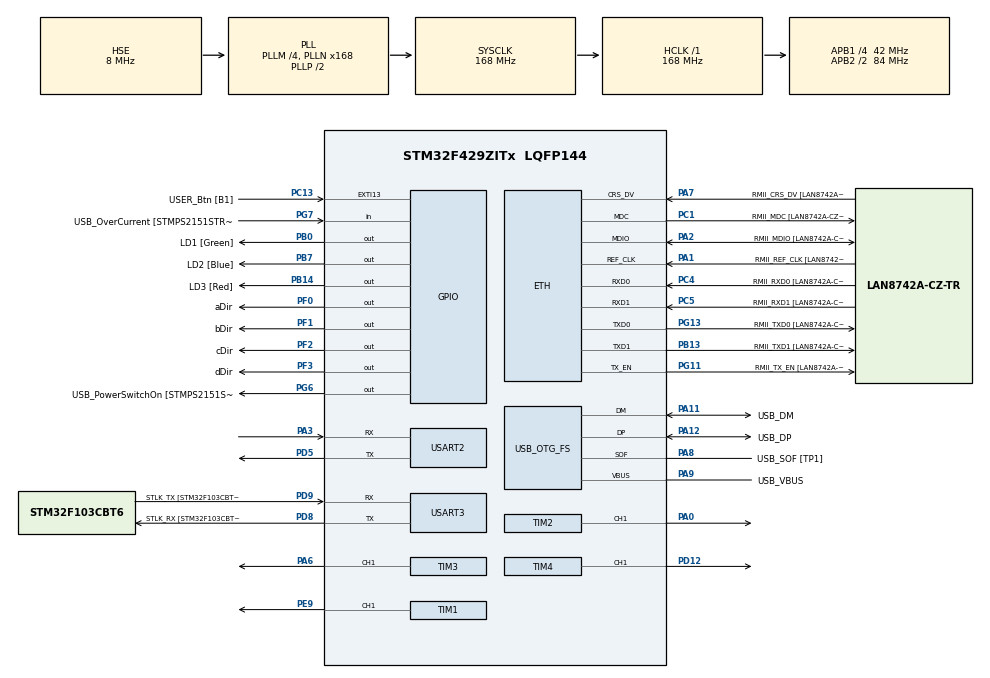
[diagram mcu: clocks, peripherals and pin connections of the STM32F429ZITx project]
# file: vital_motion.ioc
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ETH.MediaInterface=HAL_ETH_RMII_MODE
ETH.PHY_Name=LAN8742A_PHY_ADDRESS
ETH.PHY_Value=0
ETH.PhyAddress=0
FREERTOS.Tasks01=defaultTask,24,256,StartDefaultTask,Default,NULL,Dynamic,NULL,NULL;move,8,256,moveFunc,Default,NULL,Dynamic,NULL,NULL
FREERTOS.configUSE_NEWLIB_REENTRANT=1
Mcu.Family=STM32F4
Mcu.Name=STM32F429ZITx
Mcu.Package=LQFP144
NVIC.PriorityGroup=NVIC_PRIORITYGROUP_4
NVIC.TIM1_BRK_TIM9_IRQn=true\:5\:0\:false\:false\:true\:true\:true\:true\:true
NVIC.TIM1_CC_IRQn=true\:5\:0\:false\:false\:true\:true\:true\:true\:true
NVIC.TIM1_TRG_COM_TIM11_IRQn=true\:5\:0\:false\:false\:true\:true\:true\:true\:true
NVIC.TIM1_UP_TIM10_IRQn=true\:5\:0\:false\:false\:true\:true\:true\:true\:true
NVIC.TIM2_IRQn=true\:5\:0\:false\:false\:true\:true\:true\:true\:true
NVIC.TIM3_IRQn=true\:5\:0\:false\:false\:true\:true\:true\:true\:true
NVIC.TIM4_IRQn=true\:5\:0\:false\:false\:true\:true\:true\:true\:true
NVIC.TIM7_IRQn=true\:15\:0\:false\:false\:true\:false\:false\:true\:true
NVIC.TimeBase=TIM7_IRQn
NVIC.TimeBaseIP=TIM7
PA0/WKUP.Signal=S_TIM2_CH1_ETR
PA1.GPIO_Label=RMII_REF_CLK [LAN8742A-CZ-TR_REFCLK0]
PA1.Mode=RMII
PA1.Signal=ETH_REF_CLK
PA10.GPIO_Label=USB_ID
PA10.Signal=USB_OTG_FS_ID
PA11.GPIO_Label=USB_DM
PA11.Mode=Device_Only
PA11.Signal=USB_OTG_FS_DM
PA12.GPIO_Label=USB_DP
PA12.Mode=Device_Only
PA12.Signal=USB_OTG_FS_DP
PA13.GPIO_Label=TMS
PA13.Mode=Serial_Wire
PA13.Signal=SYS_JTMS-SWDIO
PA14.GPIO_Label=TCK
PA14.Mode=Serial_Wire
PA14.Signal=SYS_JTCK-SWCLK
PA2.GPIO_Label=RMII_MDIO [LAN8742A-CZ-TR_MDIO]
PA2.Mode=RMII
PA2.Signal=ETH_MDIO
PA3.Mode=Asynchronous
PA3.Signal=USART2_RX
PA6.Signal=S_TIM3_CH1
PA7.GPIO_Label=RMII_CRS_DV [LAN8742A-CZ-TR_CRS_DV]
PA7.Mode=RMII
PA7.Signal=ETH_CRS_DV
PA8.GPIO_Label=USB_SOF [TP1]
PA8.Mode=Activate_SOF_FS
PA8.Signal=USB_OTG_FS_SOF
PA9.GPIO_Label=USB_VBUS
PA9.Mode=Activate_VBUS
PA9.Signal=USB_OTG_FS_VBUS
PB0.GPIO_Label=LD1 [Green]
PB0.Signal=GPIO_Output
PB13.GPIO_Label=RMII_TXD1 [LAN8742A-CZ-TR_TXD1]
PB13.Mode=RMII
PB13.Signal=ETH_TXD1
PB14.GPIO_Label=LD3 [Red]
PB14.Signal=GPIO_Output
PB7.GPIO_Label=LD2 [Blue]
PB7.Signal=GPIO_Output
PC1.GPIO_Label=RMII_MDC [LAN8742A-CZ-TR_MDC]
PC1.Mode=RMII
PC1.Signal=ETH_MDC
PC13.GPIO_Label=USER_Btn [B1]
PC13.Signal=GPXTI13
PC14/OSC32_IN.Mode=LSE-External-Oscillator
PC14/OSC32_IN.Signal=RCC_OSC32_IN
PC15/OSC32_OUT.Mode=LSE-External-Oscillator
PC15/OSC32_OUT.Signal=RCC_OSC32_OUT
PC4.GPIO_Label=RMII_RXD0 [LAN8742A-CZ-TR_RXD0]
PC4.Mode=RMII
PC4.Signal=ETH_RXD0
PC5.GPIO_Label=RMII_RXD1 [LAN8742A-CZ-TR_RXD1]
PC5.Mode=RMII
PC5.Signal=ETH_RXD1
PD12.Signal=S_TIM4_CH1
PD5.Mode=Asynchronous
PD5.Signal=USART2_TX
PD8.GPIO_Label=STLK_RX [STM32F103CBT6_PA3]
PD8.Mode=Asynchronous
PD8.Signal=USART3_TX
PD9.GPIO_Label=STLK_TX [STM32F103CBT6_PA2]
PD9.Mode=Asynchronous
PD9.Signal=USART3_RX
PE9.Signal=S_TIM1_CH1
PF0.GPIO_Label=aDir
PF0.Signal=GPIO_Output
PF1.GPIO_Label=bDir
PF1.Signal=GPIO_Output
PF2.GPIO_Label=cDir
PF2.Signal=GPIO_Output
PF3.GPIO_Label=dDir
PF3.Signal=GPIO_Output
PG11.GPIO_Label=RMII_TX_EN [LAN8742A-CZ-TR_TXEN]
PG11.Mode=RMII
PG11.Signal=ETH_TX_EN
PG13.GPIO_Label=RMII_TXD0 [LAN8742A-CZ-TR_TXD0]
PG13.Mode=RMII
PG13.Signal=ETH_TXD0
PG6.GPIO_Label=USB_PowerSwitchOn [STMPS2151STR_EN]
PG6.Signal=GPIO_Output
PG7.GPIO_Label=USB_OverCurrent [STMPS2151STR_FAULT]
PG7.Signal=GPIO_Input
PH0/OSC_IN.GPIO_Label=MCO [STM32F103CBT6_PA8]
PH0/OSC_IN.Mode=HSE-External-Clock-Source
PH0/OSC_IN.Signal=RCC_OSC_IN
PH1/OSC_OUT.Mode=HSE-External-Clock-Source
PH1/OSC_OUT.Signal=RCC_OSC_OUT
ProjectManager.HeapSize=0x200
ProjectManager.StackSize=0x400
ProjectManager.TargetToolchain=STM32CubeIDE
RCC.48MHZClocksFreq_Value=48000000
RCC.AHBFreq_Value=168000000
RCC.APB1CLKDivider=RCC_HCLK_DIV4
RCC.APB1Freq_Value=42000000
RCC.APB1TimFreq_Value=84000000
RCC.APB2CLKDivider=RCC_HCLK_DIV2
RCC.APB2Freq_Value=84000000
RCC.APB2TimFreq_Value=168000000
RCC.CortexFreq_Value=168000000
RCC.HCLKFreq_Value=168000000
RCC.HSE_VALUE=8000000
RCC.HSI_VALUE=16000000
RCC.PLLM=4
RCC.PLLMUL=RCC_PLL_MUL9
RCC.PLLN=168
RCC.PLLQ=7
RCC.PRESCALERUSB=RCC_USBCLKSOURCE_PLL_DIV1_5
RCC.SYSCLKFreq_VALUE=168000000
RCC.SYSCLKSource=RCC_SYSCLKSOURCE_PLLCLK
RCC.SYSCLKSourceVirtual=RCC_SYSCLKSOURCE_PLLCLK
RCC.USBFreq_Value=48000000
RCC.VCOOutputFreq_Value=336000000
SH.S_TIM1_CH1.0=TIM1_CH1,PWM Generation1 CH1
SH.S_TIM2_CH1_ETR.0=TIM2_CH1,PWM Generation1 CH1
SH.S_TIM3_CH1.0=TIM3_CH1,PWM Generation1 CH1
SH.S_TIM4_CH1.0=TIM4_CH1,PWM Generation1 CH1
TIM1.Channel-PWM\ Generation1\ CH1=TIM_CHANNEL_1
TIM1.Period=10000
TIM1.Prescaler=167
TIM2.Channel-PWM\ Generation1\ CH1=TIM_CHANNEL_1
TIM2.Period=10000
TIM2.Prescaler=83
TIM3.Channel-PWM\ Generation1\ CH1=TIM_CHANNEL_1
TIM3.Period=10000
TIM3.Prescaler=83
TIM4.Channel-PWM\ Generation1\ CH1=TIM_CHANNEL_1
TIM4.Period=10000
TIM4.Prescaler=83
USART2.VirtualMode=VM_ASYNC
USART3.VirtualMode=VM_ASYNC
USB_OTG_FS.VirtualMode=Device_Only
VP_FREERTOS_VS_CMSIS_V2.Mode=CMSIS_V2
VP_SYS_VS_tim7.Mode=TIM7
board=NUCLEO-F429ZI

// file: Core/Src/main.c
/* USER CODE BEGIN Header */
/**
  ******************************************************************************
  * @file           : main.c
  * @brief          : Main program body
  ******************************************************************************
  * @attention
  *
  * Copyright (c) 2026 STMicroelectronics.
  * All rights reserved.
  *
  * This software is licensed under terms that can be found in the LICENSE file
  * in the root directory of this software component.
  * If no LICENSE file comes with this software, it is provided AS-IS.
  *
  ******************************************************************************
  */
/* USER CODE END Header */
#include "main.h"
#include "string.h"
#include "cmsis_os.h"

/* USER CODE BEGIN Includes */
#include <stdio.h>
#include "comm_uart.h"
#include "motor.h"
/* USER CODE END Includes */

ETH_TxPacketConfig TxConfig;
ETH_DMADescTypeDef  DMARxDscrTab[ETH_RX_DESC_CNT]; /* Ethernet Rx DMA Descriptors */
ETH_DMADescTypeDef  DMATxDscrTab[ETH_TX_DESC_CNT]; /* Ethernet Tx DMA Descriptors */

ETH_HandleTypeDef heth;

TIM_HandleTypeDef htim1;
TIM_HandleTypeDef htim2;
TIM_HandleTypeDef htim3;
TIM_HandleTypeDef htim4;

UART_HandleTypeDef huart2;
UART_HandleTypeDef huart3;

PCD_HandleTypeDef hpcd_USB_OTG_FS;

/* Definitions for defaultTask */
osThreadId_t defaultTaskHandle;
const osThreadAttr_t defaultTask_attributes = {
  .name = "defaultTask",
  .stack_size = 256 * 4,
  .priority = (osPriority_t) osPriorityNormal,
};
/* Definitions for move */
osThreadId_t moveHandle;
const osThreadAttr_t move_attributes = {
  .name = "move",
  .stack_size = 512 * 4,
  .priority = (osPriority_t) osPriorityNormal,
};

void SystemClock_Config(void);
static void MX_GPIO_Init(void);
static void MX_ETH_Init(void);
static void MX_USART3_UART_Init(void);
static void MX_USB_OTG_FS_PCD_Init(void);
static void MX_USART2_UART_Init(void);
static void MX_TIM1_Init(void);
static void MX_TIM2_Init(void);
static void MX_TIM3_Init(void);
static void MX_TIM4_Init(void);
void StartDefaultTask(void *argument);
void moveFunc(void *argument);

/* USER CODE BEGIN 0 */

/** printf → USART3 (ST-Link VCP), см. BRINGUP.md */
int __io_putchar(int ch)
{
  uint8_t c = (uint8_t)ch;
  HAL_UART_Transmit(&huart3, &c, 1, HAL_MAX_DELAY);
  return ch;
}

/* USER CODE END 0 */

int main(void)
{

  /* MCU Configuration--------------------------------------------------------*/

  /* Reset of all peripherals, Initializes the Flash interface and the Systick. */
  HAL_Init();

  /* Configure the system clock */
  SystemClock_Config();

  /* Initialize all configured peripherals */
  MX_GPIO_Init();
  MX_ETH_Init();
  MX_USART3_UART_Init();
  MX_USB_OTG_FS_PCD_Init();
  MX_USART2_UART_Init();
  MX_TIM1_Init();
  MX_TIM2_Init();
  MX_TIM3_Init();
  MX_TIM4_Init();
  /* USER CODE BEGIN 2 */
  motor_init();
  comm_uart_init();
  /* USER CODE END 2 */

  /* Init scheduler */
  osKernelInitialize();

  /* Create the thread(s) */
  /* creation of defaultTask */
  defaultTaskHandle = osThreadNew(StartDefaultTask, NULL, &defaultTask_attributes);

  /* creation of move */
  moveHandle = osThreadNew(moveFunc, NULL, &move_attributes);

  /* Start scheduler */
  osKernelStart();

  /* We should never get here as control is now taken by the scheduler */

  /* Infinite loop */
  while (1)
  {

  }
}

void SystemClock_Config(void)
{
  RCC_OscInitTypeDef RCC_OscInitStruct = {0};
  RCC_ClkInitTypeDef RCC_ClkInitStruct = {0};

  /** Configure the main internal regulator output voltage
  */
  __HAL_RCC_PWR_CLK_ENABLE();
  __HAL_PWR_VOLTAGESCALING_CONFIG(PWR_REGULATOR_VOLTAGE_SCALE1);

  /** Initializes the RCC Oscillators according to the specified parameters
  * in the RCC_OscInitTypeDef structure.
  */
  RCC_OscInitStruct.OscillatorType = RCC_OSCILLATORTYPE_HSE;
  RCC_OscInitStruct.HSEState = RCC_HSE_BYPASS;
  RCC_OscInitStruct.PLL.PLLState = RCC_PLL_ON;
  RCC_OscInitStruct.PLL.PLLSource = RCC_PLLSOURCE_HSE;
  RCC_OscInitStruct.PLL.PLLM = 4;
  RCC_OscInitStruct.PLL.PLLN = 168;
  RCC_OscInitStruct.PLL.PLLP = RCC_PLLP_DIV2;
  RCC_OscInitStruct.PLL.PLLQ = 7;
  if (HAL_RCC_OscConfig(&RCC_OscInitStruct) != HAL_OK)
  {
    Error_Handler();
  }

  /** Initializes the CPU, AHB and APB buses clocks
  */
  RCC_ClkInitStruct.ClockType = RCC_CLOCKTYPE_HCLK|RCC_CLOCKTYPE_SYSCLK
                              |RCC_CLOCKTYPE_PCLK1|RCC_CLOCKTYPE_PCLK2;
  RCC_ClkInitStruct.SYSCLKSource = RCC_SYSCLKSOURCE_PLLCLK;
  RCC_ClkInitStruct.AHBCLKDivider = RCC_SYSCLK_DIV1;
  RCC_ClkInitStruct.APB1CLKDivider = RCC_HCLK_DIV4;
  RCC_ClkInitStruct.APB2CLKDivider = RCC_HCLK_DIV2;

  if (HAL_RCC_ClockConfig(&RCC_ClkInitStruct, FLASH_LATENCY_5) != HAL_OK)
  {
    Error_Handler();
  }
}

static void MX_ETH_Init(void)
{

   static uint8_t MACAddr[6];

  heth.Instance = ETH;
  MACAddr[0] = 0x00;
  MACAddr[1] = 0x80;
  MACAddr[2] = 0xE1;
  MACAddr[3] = 0x00;
  MACAddr[4] = 0x00;
  MACAddr[5] = 0x00;
  heth.Init.MACAddr = &MACAddr[0];
  heth.Init.MediaInterface = HAL_ETH_RMII_MODE;
  heth.Init.TxDesc = DMATxDscrTab;
  heth.Init.RxDesc = DMARxDscrTab;
  heth.Init.RxBuffLen = 1524;

  if (HAL_ETH_Init(&heth) != HAL_OK)
  {
    Error_Handler();
  }

  memset(&TxConfig, 0 , sizeof(ETH_TxPacketConfig));
  TxConfig.Attributes = ETH_TX_PACKETS_FEATURES_CSUM | ETH_TX_PACKETS_FEATURES_CRCPAD;
  TxConfig.ChecksumCtrl = ETH_CHECKSUM_IPHDR_PAYLOAD_INSERT_PHDR_CALC;
  TxConfig.CRCPadCtrl = ETH_CRC_PAD_INSERT;

}

static void MX_TIM1_Init(void)
{

  TIM_MasterConfigTypeDef sMasterConfig = {0};
  TIM_OC_InitTypeDef sConfigOC = {0};
  TIM_BreakDeadTimeConfigTypeDef sBreakDeadTimeConfig = {0};

  htim1.Instance = TIM1;
  htim1.Init.Prescaler = 167;
  htim1.Init.CounterMode = TIM_COUNTERMODE_UP;
  htim1.Init.Period = 10000;
  htim1.Init.ClockDivision = TIM_CLOCKDIVISION_DIV1;
  htim1.Init.RepetitionCounter = 0;
  htim1.Init.AutoReloadPreload = TIM_AUTORELOAD_PRELOAD_DISABLE;
  if (HAL_TIM_PWM_Init(&htim1) != HAL_OK)
  {
    Error_Handler();
  }
  sMasterConfig.MasterOutputTrigger = TIM_TRGO_RESET;
  sMasterConfig.MasterSlaveMode = TIM_MASTERSLAVEMODE_DISABLE;
  if (HAL_TIMEx_MasterConfigSynchronization(&htim1, &sMasterConfig) != HAL_OK)
  {
    Error_Handler();
  }
  sConfigOC.OCMode = TIM_OCMODE_PWM1;
  sConfigOC.Pulse = 0;
  sConfigOC.OCPolarity = TIM_OCPOLARITY_HIGH;
  sConfigOC.OCNPolarity = TIM_OCNPOLARITY_HIGH;
  sConfigOC.OCFastMode = TIM_OCFAST_DISABLE;
  sConfigOC.OCIdleState = TIM_OCIDLESTATE_RESET;
  sConfigOC.OCNIdleState = TIM_OCNIDLESTATE_RESET;
  if (HAL_TIM_PWM_ConfigChannel(&htim1, &sConfigOC, TIM_CHANNEL_1) != HAL_OK)
  {
    Error_Handler();
  }
  sBreakDeadTimeConfig.OffStateRunMode = TIM_OSSR_DISABLE;
  sBreakDeadTimeConfig.OffStateIDLEMode = TIM_OSSI_DISABLE;
  sBreakDeadTimeConfig.LockLevel = TIM_LOCKLEVEL_OFF;
  sBreakDeadTimeConfig.DeadTime = 0;
  sBreakDeadTimeConfig.BreakState = TIM_BREAK_DISABLE;
  sBreakDeadTimeConfig.BreakPolarity = TIM_BREAKPOLARITY_HIGH;
  sBreakDeadTimeConfig.AutomaticOutput = TIM_AUTOMATICOUTPUT_DISABLE;
  if (HAL_TIMEx_ConfigBreakDeadTime(&htim1, &sBreakDeadTimeConfig) != HAL_OK)
  {
    Error_Handler();
  }
  HAL_TIM_MspPostInit(&htim1);

}

static void MX_TIM2_Init(void)
{

  TIM_MasterConfigTypeDef sMasterConfig = {0};
  TIM_OC_InitTypeDef sConfigOC = {0};

  htim2.Instance = TIM2;
  htim2.Init.Prescaler = 83;
  htim2.Init.CounterMode = TIM_COUNTERMODE_UP;
  htim2.Init.Period = 10000;
  htim2.Init.ClockDivision = TIM_CLOCKDIVISION_DIV1;
  htim2.Init.AutoReloadPreload = TIM_AUTORELOAD_PRELOAD_DISABLE;
  if (HAL_TIM_PWM_Init(&htim2) != HAL_OK)
  {
    Error_Handler();
  }
  sMasterConfig.MasterOutputTrigger = TIM_TRGO_RESET;
  sMasterConfig.MasterSlaveMode = TIM_MASTERSLAVEMODE_DISABLE;
  if (HAL_TIMEx_MasterConfigSynchronization(&htim2, &sMasterConfig) != HAL_OK)
  {
    Error_Handler();
  }
  sConfigOC.OCMode = TIM_OCMODE_PWM1;
  sConfigOC.Pulse = 0;
  sConfigOC.OCPolarity = TIM_OCPOLARITY_HIGH;
  sConfigOC.OCFastMode = TIM_OCFAST_DISABLE;
  if (HAL_TIM_PWM_ConfigChannel(&htim2, &sConfigOC, TIM_CHANNEL_1) != HAL_OK)
  {
    Error_Handler();
  }
  HAL_TIM_MspPostInit(&htim2);

}

static void MX_TIM3_Init(void)
{

  TIM_MasterConfigTypeDef sMasterConfig = {0};
  TIM_OC_InitTypeDef sConfigOC = {0};

  htim3.Instance = TIM3;
  htim3.Init.Prescaler = 83;
  htim3.Init.CounterMode = TIM_COUNTERMODE_UP;
  htim3.Init.Period = 10000;
  htim3.Init.ClockDivision = TIM_CLOCKDIVISION_DIV1;
  htim3.Init.AutoReloadPreload = TIM_AUTORELOAD_PRELOAD_DISABLE;
  if (HAL_TIM_PWM_Init(&htim3) != HAL_OK)
  {
    Error_Handler();
  }
  sMasterConfig.MasterOutputTrigger = TIM_TRGO_RESET;
  sMasterConfig.MasterSlaveMode = TIM_MASTERSLAVEMODE_DISABLE;
  if (HAL_TIMEx_MasterConfigSynchronization(&htim3, &sMasterConfig) != HAL_OK)
  {
    Error_Handler();
  }
  sConfigOC.OCMode = TIM_OCMODE_PWM1;
  sConfigOC.Pulse = 0;
  sConfigOC.OCPolarity = TIM_OCPOLARITY_HIGH;
  sConfigOC.OCFastMode = TIM_OCFAST_DISABLE;
  if (HAL_TIM_PWM_ConfigChannel(&htim3, &sConfigOC, TIM_CHANNEL_1) != HAL_OK)
  {
    Error_Handler();
  }
  HAL_TIM_MspPostInit(&htim3);

}

static void MX_TIM4_Init(void)
{

  TIM_MasterConfigTypeDef sMasterConfig = {0};
  TIM_OC_InitTypeDef sConfigOC = {0};

  htim4.Instance = TIM4;
  htim4.Init.Prescaler = 83;
  htim4.Init.CounterMode = TIM_COUNTERMODE_UP;
  htim4.Init.Period = 10000;
  htim4.Init.ClockDivision = TIM_CLOCKDIVISION_DIV1;
  htim4.Init.AutoReloadPreload = TIM_AUTORELOAD_PRELOAD_DISABLE;
  if (HAL_TIM_PWM_Init(&htim4) != HAL_OK)
  {
    Error_Handler();
  }
  sMasterConfig.MasterOutputTrigger = TIM_TRGO_RESET;
  sMasterConfig.MasterSlaveMode = TIM_MASTERSLAVEMODE_DISABLE;
  if (HAL_TIMEx_MasterConfigSynchronization(&htim4, &sMasterConfig) != HAL_OK)
  {
    Error_Handler();
  }
  sConfigOC.OCMode = TIM_OCMODE_PWM1;
  sConfigOC.Pulse = 0;
  sConfigOC.OCPolarity = TIM_OCPOLARITY_HIGH;
  sConfigOC.OCFastMode = TIM_OCFAST_DISABLE;
  if (HAL_TIM_PWM_ConfigChannel(&htim4, &sConfigOC, TIM_CHANNEL_1) != HAL_OK)
  {
    Error_Handler();
  }
  HAL_TIM_MspPostInit(&htim4);

}

static void MX_USART2_UART_Init(void)
{

  huart2.Instance = USART2;
  huart2.Init.BaudRate = 115200;
  huart2.Init.WordLength = UART_WORDLENGTH_8B;
  huart2.Init.StopBits = UART_STOPBITS_1;
  huart2.Init.Parity = UART_PARITY_NONE;
  huart2.Init.Mode = UART_MODE_TX_RX;
  huart2.Init.HwFlowCtl = UART_HWCONTROL_NONE;
  huart2.Init.OverSampling = UART_OVERSAMPLING_16;
  if (HAL_UART_Init(&huart2) != HAL_OK)
  {
    Error_Handler();
  }

}

static void MX_USART3_UART_Init(void)
{

  huart3.Instance = USART3;
  huart3.Init.BaudRate = 115200;
  huart3.Init.WordLength = UART_WORDLENGTH_8B;
  huart3.Init.StopBits = UART_STOPBITS_1;
  huart3.Init.Parity = UART_PARITY_NONE;
  huart3.Init.Mode = UART_MODE_TX_RX;
  huart3.Init.HwFlowCtl = UART_HWCONTROL_NONE;
  huart3.Init.OverSampling = UART_OVERSAMPLING_16;
  if (HAL_UART_Init(&huart3) != HAL_OK)
  {
    Error_Handler();
  }

}

static void MX_USB_OTG_FS_PCD_Init(void)
{

  hpcd_USB_OTG_FS.Instance = USB_OTG_FS;
  hpcd_USB_OTG_FS.Init.dev_endpoints = 4;
  hpcd_USB_OTG_FS.Init.speed = PCD_SPEED_FULL;
  hpcd_USB_OTG_FS.Init.dma_enable = DISABLE;
  hpcd_USB_OTG_FS.Init.phy_itface = PCD_PHY_EMBEDDED;
  hpcd_USB_OTG_FS.Init.Sof_enable = ENABLE;
  hpcd_USB_OTG_FS.Init.low_power_enable = DISABLE;
  hpcd_USB_OTG_FS.Init.lpm_enable = DISABLE;
  hpcd_USB_OTG_FS.Init.vbus_sensing_enable = ENABLE;
  hpcd_USB_OTG_FS.Init.use_dedicated_ep1 = DISABLE;
  if (HAL_PCD_Init(&hpcd_USB_OTG_FS) != HAL_OK)
  {
    Error_Handler();
  }

}

static void MX_GPIO_Init(void)
{
  GPIO_InitTypeDef GPIO_InitStruct = {0};

  /* GPIO Ports Clock Enable */
  __HAL_RCC_GPIOC_CLK_ENABLE();
  __HAL_RCC_GPIOF_CLK_ENABLE();
  __HAL_RCC_GPIOH_CLK_ENABLE();
  __HAL_RCC_GPIOA_CLK_ENABLE();
  __HAL_RCC_GPIOB_CLK_ENABLE();
  __HAL_RCC_GPIOE_CLK_ENABLE();
  __HAL_RCC_GPIOD_CLK_ENABLE();
  __HAL_RCC_GPIOG_CLK_ENABLE();

  /*Configure GPIO pin Output Level */
  HAL_GPIO_WritePin(GPIOF, aDir_Pin|bDir_Pin|cDir_Pin|dDir_Pin, GPIO_PIN_RESET);

  /*Configure GPIO pin Output Level */
  HAL_GPIO_WritePin(GPIOB, LD1_Pin|LD3_Pin|LD2_Pin, GPIO_PIN_RESET);

  /*Configure GPIO pin Output Level */
  HAL_GPIO_WritePin(USB_PowerSwitchOn_GPIO_Port, USB_PowerSwitchOn_Pin, GPIO_PIN_RESET);

  /*Configure GPIO pin : USER_Btn_Pin */
  GPIO_InitStruct.Pin = USER_Btn_Pin;
  GPIO_InitStruct.Mode = GPIO_MODE_IT_RISING;
  GPIO_InitStruct.Pull = GPIO_NOPULL;
  HAL_GPIO_Init(USER_Btn_GPIO_Port, &GPIO_InitStruct);

  /*Configure GPIO pins : aDir_Pin bDir_Pin cDir_Pin dDir_Pin */
  GPIO_InitStruct.Pin = aDir_Pin|bDir_Pin|cDir_Pin|dDir_Pin;
  GPIO_InitStruct.Mode = GPIO_MODE_OUTPUT_PP;
  GPIO_InitStruct.Pull = GPIO_NOPULL;
  GPIO_InitStruct.Speed = GPIO_SPEED_FREQ_LOW;
  HAL_GPIO_Init(GPIOF, &GPIO_InitStruct);

  /*Configure GPIO pins : LD1_Pin LD3_Pin LD2_Pin */
  GPIO_InitStruct.Pin = LD1_Pin|LD3_Pin|LD2_Pin;
  GPIO_InitStruct.Mode = GPIO_MODE_OUTPUT_PP;
  GPIO_InitStruct.Pull = GPIO_NOPULL;
  GPIO_InitStruct.Speed = GPIO_SPEED_FREQ_LOW;
  HAL_GPIO_Init(GPIOB, &GPIO_InitStruct);

  /*Configure GPIO pin : USB_PowerSwitchOn_Pin */
  GPIO_InitStruct.Pin = USB_PowerSwitchOn_Pin;
  GPIO_InitStruct.Mode = GPIO_MODE_OUTPUT_PP;
  GPIO_InitStruct.Pull = GPIO_NOPULL;
  GPIO_InitStruct.Speed = GPIO_SPEED_FREQ_LOW;
  HAL_GPIO_Init(USB_PowerSwitchOn_GPIO_Port, &GPIO_InitStruct);

  /*Configure GPIO pin : USB_OverCurrent_Pin */
  GPIO_InitStruct.Pin = USB_OverCurrent_Pin;
  GPIO_InitStruct.Mode = GPIO_MODE_INPUT;
  GPIO_InitStruct.Pull = GPIO_NOPULL;
  HAL_GPIO_Init(USB_OverCurrent_GPIO_Port, &GPIO_InitStruct);

}

void StartDefaultTask(void *argument)
{
  /* USER CODE BEGIN 5 */
  /* M0: только LED — UART3 занят motion (echo) в moveFunc */
  for (;;)
  {
    HAL_GPIO_TogglePin(LD1_GPIO_Port, LD1_Pin);
    osDelay(500);
  }
  /* USER CODE END 5 */
}

void moveFunc(void *argument)
{
  /* USER CODE BEGIN moveFunc */
  (void)argument;
  /* M2: echo + PING на motion UART (USART3 на NUCLEO) */
  comm_uart_poll_loop();
  /* USER CODE END moveFunc */
}

void HAL_TIM_PeriodElapsedCallback(TIM_HandleTypeDef *htim)
{
  if (htim->Instance == TIM7)
  {
    HAL_IncTick();
  }
  /* USER CODE BEGIN Callback 1 */
  else if (htim->Instance == TIM1 || htim->Instance == TIM2 || htim->Instance == TIM3 ||
           htim->Instance == TIM4)
  {
    motor_tim_period_elapsed(htim);
  }
  /* USER CODE END Callback 1 */
}

void Error_Handler(void)
{
  __disable_irq();
  while (1)
  {
  }
}
